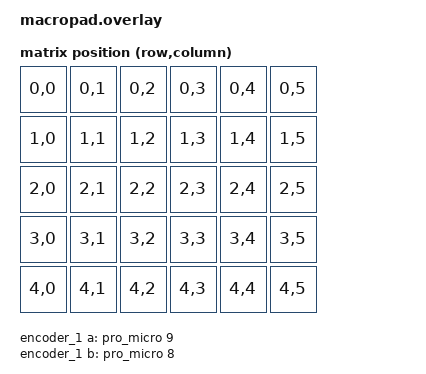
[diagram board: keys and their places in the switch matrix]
numpad.overlay




#include <dt-bindings/zmk/matrix_transform.h>

/ {

    encoder_1: encoder_1 {
        compatible = "alps,ec11";
        a-gpios = <&pro_micro 9 (GPIO_ACTIVE_LOW | GPIO_PULL_UP)>;
        b-gpios = <&pro_micro 8 (GPIO_ACTIVE_LOW | GPIO_PULL_UP)>;
        steps = <80>;
        status = "okay";
    };
    
    chosen {
        zmk,kscan = &kscan0;
        zmk,matrix-transform = &default_transform;
    };

    kscan0: kscan {
        compatible = "zmk,kscan-gpio-matrix";
        // define row-gpios with 5 elements and col-gpios with 6...
    };

    default_transform: matrix_transform {
        compatible = "zmk,matrix-transform";
        rows = <5>;
        columns = <6>;
        // ┌───┬───┬───┬───┐
        // │NUM│ / │ * │ - │
        // ├───┼───┼───┼───┤
        // │ 7 │ 8 │ 9 │ + │
        // ├───┼───┼───┤   │
        // │ 4 │ 5 │ 6 │   │
        // ├───┼───┼───┼───┤
        // │ 1 │ 2 │ 3 │RET│
        // ├───┴───┼───┤   │
        // │ 0     │ . │   │
        // └───────┴───┴───┘
        map = <
            RC(0,0) RC(0,1) RC(0,2) RC(0,3) RC(0,4) RC(0,5)
            RC(1,0) RC(1,1) RC(1,2) RC(1,3) RC(1,4) RC(1,5)
            RC(2,0) RC(2,1) RC(2,2) RC(2,3) RC(2,4) RC(2,5)
            RC(3,0) RC(3,1) RC(3,2) RC(3,3) RC(3,4) RC(3,5)
            RC(4,0) RC(4,1) RC(4,2) RC(4,3) RC(4,4) RC(4,5)
        >;
    };
};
